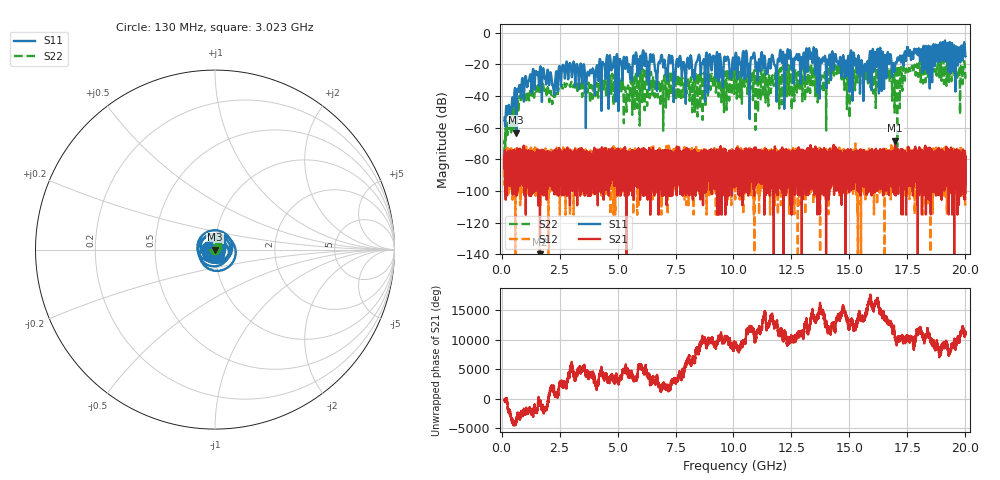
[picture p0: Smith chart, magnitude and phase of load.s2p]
!Created with skrf (http://scikit-rf.org).
# GHz S RI R 50.0
!freq ReS11 ImS11 ReS21 ImS21 ReS12 ImS12 ReS22 ImS22
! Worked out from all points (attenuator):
!   20013 points, 130 MHz to 20 GHz, reference 50 ohm
!   highest |S21| = -68.36 dB at 16.97 GHz (marker M1); lowest = -178.5 dB at 1.654 GHz (marker M2)
!   lowest |S11| = -63.2 dB at 634 MHz (marker M3), VSWR 1.00, Z = 50 - j0.0696 ohm
!   |S11| at or under -10 dB: start of sweep to 13.14 GHz; 13.47 GHz to 16.32 GHz (2.841 GHz wide, 19.1 % of centre); 16.34 GHz to 17.48 GHz (1.147 GHz wide, 6.79 % of centre) (the widest 3 of 25)
!   |S22| runs from -93.5 to -16.0 dB; largest |S21 - S12| = 0.00045
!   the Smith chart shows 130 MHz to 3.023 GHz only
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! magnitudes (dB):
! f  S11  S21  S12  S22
! 130 MHz  -53.7  -81.1  -91.0  -67.5
! 634 MHz  -63.2  -83.1  -84.8  -48.2
! 1.654 GHz  -23.0  -178.5  -78.8  -34.0
! 2.234 GHz  -35.4  -84.9  -82.9  -40.3
! 2.725 GHz  -28.7  -89.4  -92.8  -32.7
! 3.442 GHz  -21.7  -87.8  -83.2  -33.2
! 4.826 GHz  -18.1  -85.2  -79.5  -43.3
! 5.342 GHz  -22.0  -82.3  -80.5  -35.9
! 5.542 GHz  -29.1  -81.7  -77.3  -34.0
! 6.156 GHz  -19.9  -84.0  -91.0  -30.8
! 6.754 GHz  -20.3  -80.1  -77.2  -34.8
! 10.06 GHz  -16.1  -79.9  -91.8  -24.6
! 11.82 GHz  -21.7  -80.1  -83.9  -26.2
! 12.07 GHz  -15.7  -80.7  -89.9  -30.7
! 13.38 GHz  -14.0  -83.1  -92.9  -21.9
! 13.72 GHz  -29.9  -87.1  -76.8  -26.1
! 15.13 GHz  -41.3  -79.8  -81.0  -42.0
! 15.54 GHz  -18.4  -84.9  -81.0  -22.2
! 15.95 GHz  -36.4  -80.7  -83.9  -23.4
! 16.69 GHz  -16.2  -79.1  -81.9  -23.3
! 16.97 GHz  -20.3  -68.4  -76.2  -26.9
! 20 GHz  -15.2  -91.4  -84.4  -28.6
